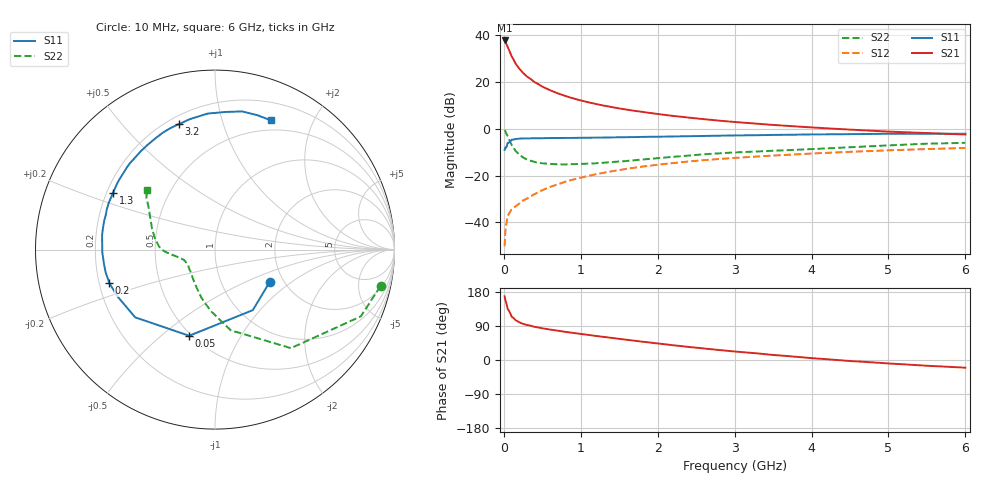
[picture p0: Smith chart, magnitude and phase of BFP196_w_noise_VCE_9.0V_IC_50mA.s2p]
! Infineon Technologies  Discrete & RF Semiconductors
! BFP196
! VCE =  9.0 V,  IC =  50 mA
! Common Emitter S-Parameters:  Jan 2017
# GHz  S  MA  R  50
!  f  S11  S21  S12  S22
! GHz  MAG  ANG  MAG  ANG  MAG  ANG  MAG  ANG
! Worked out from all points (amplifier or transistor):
!   77 points, 10 MHz to 6 GHz, reference 50 ohm
!   highest |S21| = 37.8 dB at 10 MHz (marker M1)
!   |S21| within 3 dB of that: start of sweep to 52.9 MHz
!   unconditionally stable (mu >= 1): 602.5 MHz to 2.399 GHz
!   at 130 MHz: K = 0.58, MSG = 31.5 dB, |S12| = -33.7 dB
!   at 2.2 GHz: K = 1.01, MAG = 9.4 dB, |S12| = -14.7 dB
!   at 6 GHz: K = 0.94, MSG = 2.9 dB, |S12| = -8.2 dB
!   lowest NFmin = 1.45 dB at 450 MHz
!   S11 on the Smith chart (normalised r, x): 10 MHz: 1.69, -0.70; 50 MHz: 0.49, -0.62; 200 MHz: 0.24, -0.15; 1.3 GHz: 0.23, +0.25; 3.2 GHz: 0.24, +0.72; 6 GHz: 0.39, +1.45
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0.01  0.3542 -30.9  77.36 168.2  0.0031 75.5  0.9445 -12.4
0.02  0.3976 -58.0  74.1 157.9  0.0065 81.8  0.8935 -24.6
0.05  0.5012 -106.7  56.09 134.3  0.0136 57.9  0.693 -52.4
0.1  0.5833 -139.7  35.73 114.7  0.0188 52.7  0.4584 -78.9
0.15  0.6034 -154.6  25.26 105.4  0.0219 52.9  0.3416 -94.2
0.2  0.6175 -162.5  19.39 99.6  0.0252 56.0  0.2809 -105.3
0.25  0.6226 -168.4  15.67 95.4  0.0295 58.1  0.2436 -113.4
0.3  0.6236 -172.5  13.14 92.4  0.0321 59.5  0.2207 -120.6
0.4  0.628 -178.6  9.961 87.5  0.0402 63.0  0.1954 -130.9
0.5  0.6297 176.6  7.987 83.7  0.0487 64.6  0.1832 -138.6
0.6  0.6344 172.5  6.689 80.3  0.0572 65.1  0.1779 -144.5
0.7  0.6356 169.2  5.739 77.4  0.0649 65.9  0.1739 -149.1
0.9  0.6383 162.5  4.473 71.5  0.0823 64.9  0.1757 -155.2
1.1  0.6464 156.6  3.686 66.2  0.0987 63.8  0.1803 -159.9
1.3  0.65 150.8  3.132 60.9  0.1149 61.7  0.1884 -163.3
1.7  0.6657 139.7  2.423 50.9  0.1477 57.4  0.2131 -169.0
2.1  0.6815 129.5  1.979 41.4  0.1778 52.3  0.2436 -173.6
3.1  0.7238 108.1  1.359 20.8  0.2444 39.2  0.3179 175.2
3.2  0.7269 106.2  1.32 19.1  0.2501 38.0  0.323 173.8
4.1  0.76 91.6  1.048 3.5  0.301 27.2  0.3749 160.1
5.1  0.7838 77.7  0.859 -10.3  0.3511 15.6  0.4497 146.1
6  0.7842 66.7  0.754 -20.3  0.3898 5.6  0.5015 138.9
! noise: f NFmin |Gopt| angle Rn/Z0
0.45  1.45  0.4  -176  0.06
0.9  1.6  0.47  -164  0.08
1.9  2.42  0.68  -132  0.32
2.4  2.82  0.7  -119  0.66
